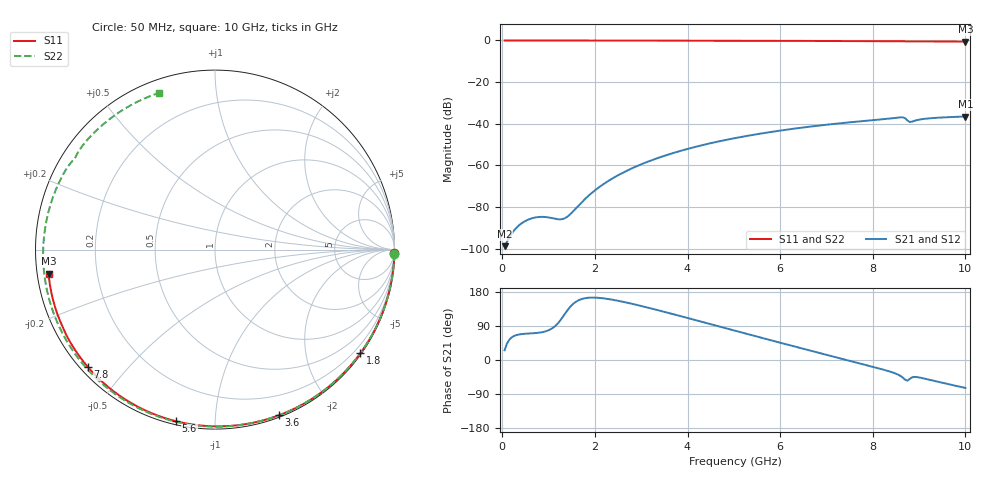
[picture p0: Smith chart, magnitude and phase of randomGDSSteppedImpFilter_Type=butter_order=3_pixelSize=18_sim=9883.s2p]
! freq	dB(S11)	phase(S11)	dB(S12)	phase(S12)
!  dB(S21)	phase(S21)	dB(S22)	phase(S22)
!S-par simulation data
#  GHz  S  DB  R 50
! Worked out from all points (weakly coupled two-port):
!   200 points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, 50 MHz to 10 GHz, reference 50 ohm
!   highest |S21| = -36.53 dB at 10 GHz (marker M1); lowest = -98.8 dB at 50 MHz (marker M2)
!   lowest |S11| = -0.6 dB at 10 GHz (marker M3), VSWR 30.85, Z = 1.63 - j3.61 ohm
!   |S11| at or under -10 dB: nowhere
!   |S22| runs from -0.7 to 0.0 dB; largest |S21 - S12| = 0
!   S11 on the Smith chart (normalised r, x): 50 MHz: open; 1.8 GHz: 0.03, -3.13; 3.6 GHz: 0.02, -1.46; 5.6 GHz: 0.02, -0.80; 7.8 GHz: 0.02, -0.39; 10 GHz: 0.03, -0.07
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0.05  -0.00 -1.0  -98.79 25.7  -98.79 25.7  -0.00 -1.3
0.8  -0.02 -16.0  -84.75 72.1  -84.75 72.1  -0.02 -21.3
1.6  -0.04 -31.6  -80.38 154.5  -80.38 154.5  -0.05 -42.1
1.75  -0.04 -34.5  -76.92 162.1  -76.92 162.1  -0.06 -45.9
1.8  -0.05 -35.5  -75.84 163.3  -75.84 163.3  -0.06 -47.2
2.1  -0.05 -41.2  -70.31 163.8  -70.31 163.8  -0.07 -54.7
2.45  -0.06 -47.8  -65.35 157.5  -65.35 157.5  -0.08 -63.5
2.9  -0.07 -56.2  -60.42 145.5  -60.42 145.5  -0.10 -74.5
3.4  -0.09 -65.3  -56.14 130.2  -56.14 130.2  -0.11 -86.5
3.6  -0.09 -68.8  -54.68 123.9  -54.68 123.9  -0.12 -91.2
4.3  -0.11 -81.1  -50.38 101.1  -50.38 101.1  -0.15 -107.4
5.05  -0.14 -93.7  -46.79 76.5  -46.79 76.5  -0.19 -124.5
5.6  -0.17 -102.8  -44.65 58.6  -44.65 58.6  -0.22 -136.9
6.15  -0.20 -111.6  -42.81 40.8  -42.81 40.8  -0.26 -149.4
6.7  -0.23 -120.3  -41.23 23.2  -41.23 23.2  -0.31 -162.1
7.25  -0.27 -128.8  -39.87 5.8  -39.87 5.8  -0.36 -175.1
7.8  -0.32 -137.3  -38.69 -11.6  -38.69 -11.6  -0.42 171.3
8.35  -0.37 -145.8  -37.54 -29.8  -37.54 -29.8  -0.48 157.1
8.65  -0.40 -150.5  -36.94 -46.7  -36.94 -46.7  -0.56 148.9
8.8  -0.43 -152.8  -39.17 -49.6  -39.17 -49.6  -0.59 145.4
9.2  -0.47 -159.0  -37.44 -51.4  -37.44 -51.4  -0.57 133.9
10  -0.56 -171.7  -36.53 -73.7  -36.53 -73.7  -0.66 109.7
